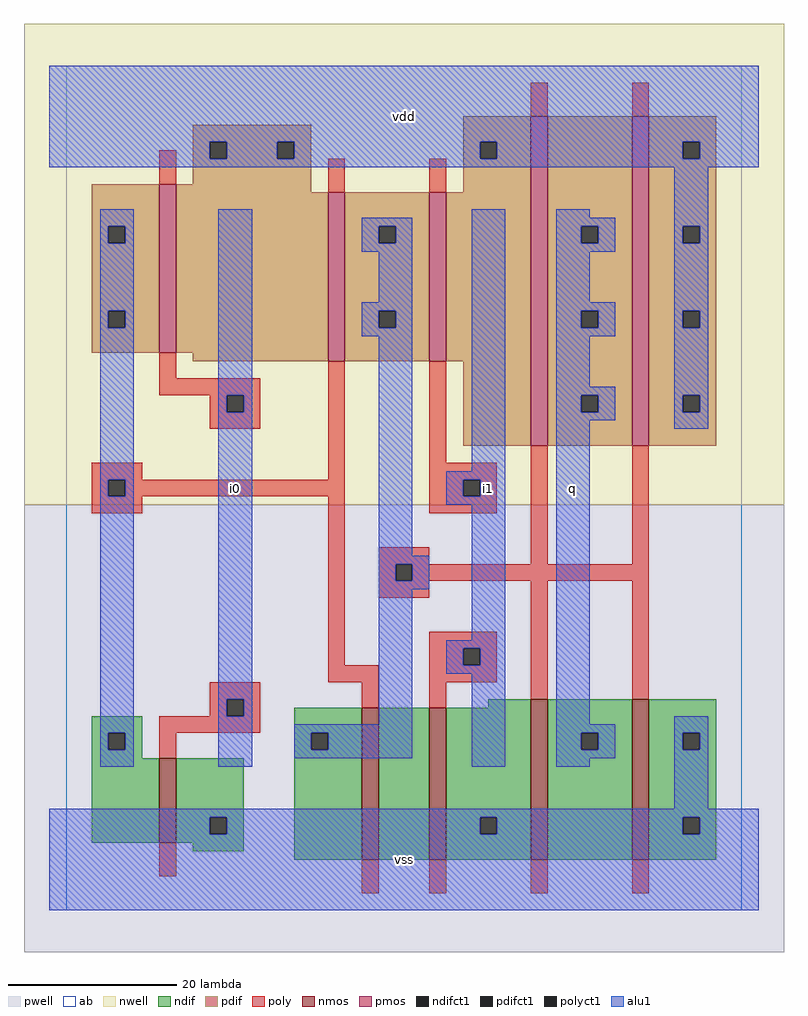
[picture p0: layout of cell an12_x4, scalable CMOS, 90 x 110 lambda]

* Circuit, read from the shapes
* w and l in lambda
.subckt an12_x4 i0 i1 q vdd vss
M1 vss i0 n1 VSUBS nfet w=10 l=2
M2 n2 n1 n3 VSUBS nfet w=18 l=2
M3 vss i1 n2 VSUBS nfet w=18 l=2
M4 q n3 vss VSUBS nfet w=19 l=2 m=2
M5 vdd i0 n1 n4 pfet w=20 l=2
M6 n3 n1 vdd n4 pfet w=20 l=2
M7 vdd i1 n3 n4 pfet w=20 l=2
M8 q n3 vdd n4 pfet w=39 l=2 m=2
.ends

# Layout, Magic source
magic
tech scmos
<< ab >>
rect 0 0 80 100
<< nwell >>
rect -5 48 85 105
<< pwell >>
rect -5 -5 85 48
<< poly >>
rect 55 94 57 98
rect 67 94 69 98
rect 11 86 13 90
rect 31 85 33 89
rect 43 85 45 89
rect 11 63 13 66
rect 11 61 23 63
rect 17 59 19 61
rect 21 59 23 61
rect 17 57 23 59
rect 3 51 9 53
rect 31 51 33 65
rect 3 49 5 51
rect 7 49 33 51
rect 3 47 9 49
rect 31 29 33 49
rect 43 53 45 65
rect 43 51 51 53
rect 43 49 47 51
rect 49 49 51 51
rect 43 47 51 49
rect 37 41 43 43
rect 55 41 57 55
rect 67 41 69 55
rect 37 39 39 41
rect 41 39 69 41
rect 37 37 43 39
rect 43 31 51 33
rect 43 29 47 31
rect 49 29 51 31
rect 31 27 37 29
rect 17 25 23 27
rect 17 23 19 25
rect 21 23 23 25
rect 35 24 37 27
rect 43 27 51 29
rect 43 24 45 27
rect 55 25 57 39
rect 67 25 69 39
rect 11 21 23 23
rect 11 18 13 21
rect 11 4 13 8
rect 35 2 37 6
rect 43 2 45 6
rect 55 2 57 6
rect 67 2 69 6
<< ndif >>
rect 50 24 55 25
rect 3 21 9 23
rect 3 19 5 21
rect 7 19 9 21
rect 3 18 9 19
rect 27 21 35 24
rect 27 19 29 21
rect 31 19 35 21
rect 3 8 11 18
rect 13 11 21 18
rect 13 9 17 11
rect 19 9 21 11
rect 13 8 21 9
rect 15 7 21 8
rect 27 6 35 19
rect 37 6 43 24
rect 45 11 55 24
rect 45 9 49 11
rect 51 9 55 11
rect 45 6 55 9
rect 57 21 67 25
rect 57 19 61 21
rect 63 19 67 21
rect 57 6 67 19
rect 69 21 77 25
rect 69 19 73 21
rect 75 19 77 21
rect 69 11 77 19
rect 69 9 73 11
rect 75 9 77 11
rect 69 6 77 9
<< pdif >>
rect 15 91 29 93
rect 15 89 17 91
rect 19 89 25 91
rect 27 89 29 91
rect 47 91 55 94
rect 47 89 49 91
rect 51 89 55 91
rect 15 86 29 89
rect 3 81 11 86
rect 3 79 5 81
rect 7 79 11 81
rect 3 71 11 79
rect 3 69 5 71
rect 7 69 11 71
rect 3 66 11 69
rect 13 85 29 86
rect 47 85 55 89
rect 13 66 31 85
rect 15 65 31 66
rect 33 81 43 85
rect 33 79 37 81
rect 39 79 43 81
rect 33 71 43 79
rect 33 69 37 71
rect 39 69 43 71
rect 33 65 43 69
rect 45 65 55 85
rect 47 55 55 65
rect 57 81 67 94
rect 57 79 61 81
rect 63 79 67 81
rect 57 71 67 79
rect 57 69 61 71
rect 63 69 67 71
rect 57 61 67 69
rect 57 59 61 61
rect 63 59 67 61
rect 57 55 67 59
rect 69 91 77 94
rect 69 89 73 91
rect 75 89 77 91
rect 69 81 77 89
rect 69 79 73 81
rect 75 79 77 81
rect 69 71 77 79
rect 69 69 73 71
rect 75 69 77 71
rect 69 61 77 69
rect 69 59 73 61
rect 75 59 77 61
rect 69 55 77 59
<< alu1 >>
rect -2 91 82 100
rect -2 89 17 91
rect 19 89 25 91
rect 27 89 49 91
rect 51 89 73 91
rect 75 89 82 91
rect -2 88 82 89
rect 4 81 8 83
rect 4 79 5 81
rect 7 79 8 81
rect 4 71 8 79
rect 4 69 5 71
rect 7 69 8 71
rect 4 51 8 69
rect 4 49 5 51
rect 7 49 8 51
rect 4 21 8 49
rect 4 19 5 21
rect 7 19 8 21
rect 4 17 8 19
rect 18 61 22 83
rect 35 81 41 82
rect 35 79 37 81
rect 39 79 41 81
rect 35 78 41 79
rect 37 72 41 78
rect 35 71 41 72
rect 35 69 37 71
rect 39 69 41 71
rect 35 68 41 69
rect 18 59 19 61
rect 21 59 22 61
rect 18 25 22 59
rect 18 23 19 25
rect 21 23 22 25
rect 18 17 22 23
rect 37 42 41 68
rect 48 52 52 83
rect 45 51 52 52
rect 45 49 47 51
rect 49 49 52 51
rect 45 48 52 49
rect 37 41 43 42
rect 37 39 39 41
rect 41 39 43 41
rect 37 38 43 39
rect 37 22 41 38
rect 48 32 52 48
rect 45 31 52 32
rect 45 29 47 31
rect 49 29 52 31
rect 45 28 52 29
rect 27 21 41 22
rect 27 19 29 21
rect 31 19 41 21
rect 27 18 41 19
rect 48 17 52 28
rect 58 82 62 83
rect 58 81 65 82
rect 58 79 61 81
rect 63 79 65 81
rect 58 78 65 79
rect 72 81 76 88
rect 72 79 73 81
rect 75 79 76 81
rect 58 72 62 78
rect 58 71 65 72
rect 58 69 61 71
rect 63 69 65 71
rect 58 68 65 69
rect 72 71 76 79
rect 72 69 73 71
rect 75 69 76 71
rect 58 62 62 68
rect 58 61 65 62
rect 58 59 61 61
rect 63 59 65 61
rect 58 58 65 59
rect 72 61 76 69
rect 72 59 73 61
rect 75 59 76 61
rect 58 22 62 58
rect 72 57 76 59
rect 58 21 65 22
rect 58 19 61 21
rect 63 19 65 21
rect 58 18 65 19
rect 72 21 76 23
rect 72 19 73 21
rect 75 19 76 21
rect 58 17 62 18
rect 72 12 76 19
rect -2 11 82 12
rect -2 9 17 11
rect 19 9 49 11
rect 51 9 73 11
rect 75 9 82 11
rect -2 0 82 9
<< nmos >>
rect 11 8 13 18
rect 35 6 37 24
rect 43 6 45 24
rect 55 6 57 25
rect 67 6 69 25
<< pmos >>
rect 11 66 13 86
rect 31 65 33 85
rect 43 65 45 85
rect 55 55 57 94
rect 67 55 69 94
<< polyct1 >>
rect 19 59 21 61
rect 5 49 7 51
rect 47 49 49 51
rect 39 39 41 41
rect 47 29 49 31
rect 19 23 21 25
<< ndifct1 >>
rect 5 19 7 21
rect 29 19 31 21
rect 17 9 19 11
rect 49 9 51 11
rect 61 19 63 21
rect 73 19 75 21
rect 73 9 75 11
<< pdifct1 >>
rect 17 89 19 91
rect 25 89 27 91
rect 49 89 51 91
rect 5 79 7 81
rect 5 69 7 71
rect 37 79 39 81
rect 37 69 39 71
rect 61 79 63 81
rect 61 69 63 71
rect 61 59 63 61
rect 73 89 75 91
rect 73 79 75 81
rect 73 69 75 71
rect 73 59 75 61
<< labels >>
rlabel alu1 20 50 20 50 6 i0
rlabel alu1 40 6 40 6 6 vss
rlabel alu1 50 50 50 50 6 i1
rlabel alu1 40 94 40 94 6 vdd
rlabel alu1 60 50 60 50 6 q
<< end >>
